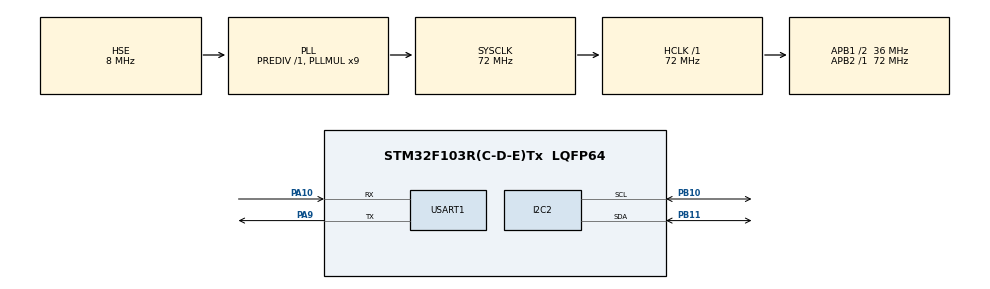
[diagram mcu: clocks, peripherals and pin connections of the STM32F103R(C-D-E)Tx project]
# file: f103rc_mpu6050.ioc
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I2C2.I2C_Mode=I2C_Fast
Mcu.Family=STM32F1
Mcu.Name=STM32F103R(C-D-E)Tx
Mcu.Package=LQFP64
NVIC.PriorityGroup=NVIC_PRIORITYGROUP_4
NVIC.USART1_IRQn=true\:0\:0\:false\:false\:true\:false\:true\:false
PA10.Mode=Asynchronous
PA10.Signal=USART1_RX
PA13.Mode=Serial_Wire
PA13.Signal=SYS_JTMS-SWDIO
PA14.Mode=Serial_Wire
PA14.Signal=SYS_JTCK-SWCLK
PA9.Mode=Asynchronous
PA9.Signal=USART1_TX
PB10.Mode=I2C
PB10.Signal=I2C2_SCL
PB11.Mode=I2C
PB11.Signal=I2C2_SDA
PD0-OSC_IN.Mode=HSE-External-Oscillator
PD0-OSC_IN.Signal=RCC_OSC_IN
PD1-OSC_OUT.Mode=HSE-External-Oscillator
PD1-OSC_OUT.Signal=RCC_OSC_OUT
ProjectManager.HeapSize=0x200
ProjectManager.StackSize=0x400
ProjectManager.TargetToolchain=MDK-ARM V5.32
RCC.AHBFreq_Value=72000000
RCC.APB1CLKDivider=RCC_HCLK_DIV2
RCC.APB1Freq_Value=36000000
RCC.APB1TimFreq_Value=72000000
RCC.APB2Freq_Value=72000000
RCC.APB2TimFreq_Value=72000000
RCC.HCLKFreq_Value=72000000
RCC.PLLMUL=RCC_PLL_MUL9
RCC.PLLSourceVirtual=RCC_PLLSOURCE_HSE
RCC.SYSCLKFreq_VALUE=72000000
RCC.SYSCLKSource=RCC_SYSCLKSOURCE_PLLCLK
RCC.USBFreq_Value=72000000
USART1.VirtualMode=VM_ASYNC
board=custom

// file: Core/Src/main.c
/* USER CODE BEGIN Header */
/**
  ******************************************************************************
  * @file           : main.c
  * @brief          : Main program body
  ******************************************************************************
  * @attention
  *
  * Copyright (c) 2026 STMicroelectronics.
  * All rights reserved.
  *
  * This software is licensed under terms that can be found in the LICENSE file
  * in the root directory of this software component.
  * If no LICENSE file comes with this software, it is provided AS-IS.
  *
  ******************************************************************************
  */

/* USER CODE END Header */
#include "main.h"
#include "i2c.h"
#include "usart.h"
#include "gpio.h"

/* USER CODE BEGIN Includes */
#include <stdio.h>
#include <stdlib.h>
#include "mpu6050.h"
#include "filter.h"
/* USER CODE END Includes */

/* USER CODE BEGIN PV */
mpu6050_data_t mpu6050, mpu6050_filter;

/* USER CODE END PV */

void SystemClock_Config(void);
/* USER CODE BEGIN PFP */
static void UART_ParseCmd(void);
/* USER CODE END PFP */

int main(void)
{

  /* MCU Configuration--------------------------------------------------------*/

  /* Reset of all peripherals, Initializes the Flash interface and the Systick. */
  HAL_Init();

  /* Configure the system clock */
  SystemClock_Config();

  /* Initialize all configured peripherals */
  MX_GPIO_Init();
  MX_I2C2_Init();
  MX_USART1_UART_Init();
  /* USER CODE BEGIN 2 */
  mpu6050_init();

  /* USER CODE END 2 */

  /* Infinite loop */
  /* USER CODE BEGIN WHILE */
  while (1)
  {
    UART_ParseCmd();
    mpu6050_get_acc(&mpu6050.acc);
    mpu6050_get_acc_filter(&mpu6050_filter.acc);
    printf("acc:%6d, %6d \r\n", mpu6050.acc.x, mpu6050_filter.acc.x);
    HAL_Delay(4);
    /* USER CODE END WHILE */

  }
}

void SystemClock_Config(void)
{
  RCC_OscInitTypeDef RCC_OscInitStruct = {0};
  RCC_ClkInitTypeDef RCC_ClkInitStruct = {0};

  /** Initializes the RCC Oscillators according to the specified parameters
  * in the RCC_OscInitTypeDef structure.
  */
  RCC_OscInitStruct.OscillatorType = RCC_OSCILLATORTYPE_HSE;
  RCC_OscInitStruct.HSEState = RCC_HSE_ON;
  RCC_OscInitStruct.HSEPredivValue = RCC_HSE_PREDIV_DIV1;
  RCC_OscInitStruct.HSIState = RCC_HSI_ON;
  RCC_OscInitStruct.PLL.PLLState = RCC_PLL_ON;
  RCC_OscInitStruct.PLL.PLLSource = RCC_PLLSOURCE_HSE;
  RCC_OscInitStruct.PLL.PLLMUL = RCC_PLL_MUL9;
  if (HAL_RCC_OscConfig(&RCC_OscInitStruct) != HAL_OK)
  {
    Error_Handler();
  }

  /** Initializes the CPU, AHB and APB buses clocks
  */
  RCC_ClkInitStruct.ClockType = RCC_CLOCKTYPE_HCLK|RCC_CLOCKTYPE_SYSCLK
                              |RCC_CLOCKTYPE_PCLK1|RCC_CLOCKTYPE_PCLK2;
  RCC_ClkInitStruct.SYSCLKSource = RCC_SYSCLKSOURCE_PLLCLK;
  RCC_ClkInitStruct.AHBCLKDivider = RCC_SYSCLK_DIV1;
  RCC_ClkInitStruct.APB1CLKDivider = RCC_HCLK_DIV2;
  RCC_ClkInitStruct.APB2CLKDivider = RCC_HCLK_DIV1;

  if (HAL_RCC_ClockConfig(&RCC_ClkInitStruct, FLASH_LATENCY_2) != HAL_OK)
  {
    Error_Handler();
  }
}

/* USER CODE BEGIN 4 */
static void UART_ParseCmd(void)
{
    float val;
    int i;

    if (!uart_cmd_flag) return;
    uart_cmd_flag = 0;

    if (uart_cmd_buf[0] == 'Q' || uart_cmd_buf[0] == 'q')
    {
        val = atof((char *)uart_cmd_buf + 2);
        for (i = 0; i < 3; i++)
            Kalman_SetQ(&mpu6050_acc_kalman_data[i], val);
        printf("Q = %.2f\r\n", val);
    }
    else if (uart_cmd_buf[0] == 'R' || uart_cmd_buf[0] == 'r')
    {
        val = atof((char *)uart_cmd_buf + 2);
        for (i = 0; i < 3; i++)
            Kalman_SetR(&mpu6050_acc_kalman_data[i], val);
        printf("R = %.2f\r\n", val);
    }
}
/* USER CODE END 4 */

void Error_Handler(void)
{
  __disable_irq();
  while (1)
  {
  }
}
